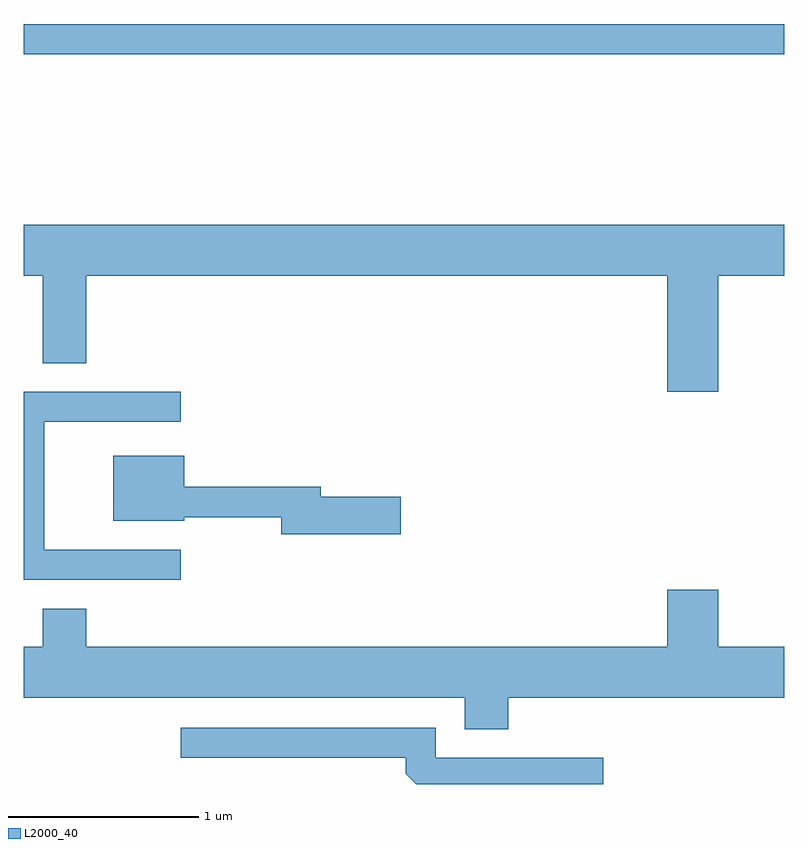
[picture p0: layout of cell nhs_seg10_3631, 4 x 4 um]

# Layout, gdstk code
import gdstk
lib = gdstk.Library(unit=1e-6, precision=1e-09)
def R(c, l, rs):  # rectangles x0, y0, x1, y1
    for r in rs: c.add(gdstk.rectangle(r[:2], r[2:], *l))
def P(c, l, *ps):  # polygons
    for p in ps: c.add(gdstk.Polygon(p, *l))
L2000_40 = (2000, 40)

nhs_seg10_3631 = lib.new_cell('nhs_seg10_3631')
R(nhs_seg10_3631, L2000_40, [(291.611,2168.361,295.611,2168.519)])
P(nhs_seg10_3631, L2000_40, [(295.264,2167.196),(295.611,2167.196),(295.611,2167.464),(291.611,2167.464),(291.611,2167.196),(291.711,2167.196),(291.711,2166.736),(291.939,2166.736),(291.939,2167.196),(294.996,2167.196),(294.996,2166.586),(295.264,2166.586)],
  [(292.438,2165.754),(291.719,2165.754),(291.719,2166.426),(292.438,2166.426),(292.438,2166.584),(291.611,2166.584),(291.611,2165.596),(292.438,2165.596)],
  [(293.594,2166.034),(293.174,2166.034),(293.174,2166.084),(292.454,2166.084),(292.454,2166.249),(292.081,2166.249),(292.081,2165.906),(292.454,2165.906),(292.454,2165.926),(292.966,2165.926),(292.966,2165.836),(293.594,2165.836)],
  [(294.159,2164.976),(295.611,2164.976),(295.611,2165.244),(295.264,2165.244),(295.264,2165.544),(294.996,2165.544),(294.996,2165.244),(291.939,2165.244),(291.939,2165.444),(291.711,2165.444),(291.711,2165.244),(291.611,2165.244),(291.611,2164.976),(293.931,2164.976),(293.931,2164.811),(294.159,2164.811)],
  [(294.658,2164.659),(293.779,2164.659),(293.779,2164.819),(292.438,2164.819),(292.438,2164.661),(293.621,2164.661),(293.621,2164.577),(293.676,2164.522),(294.658,2164.522)])

lib.write_gds('nhs_seg10_3631.gds')
